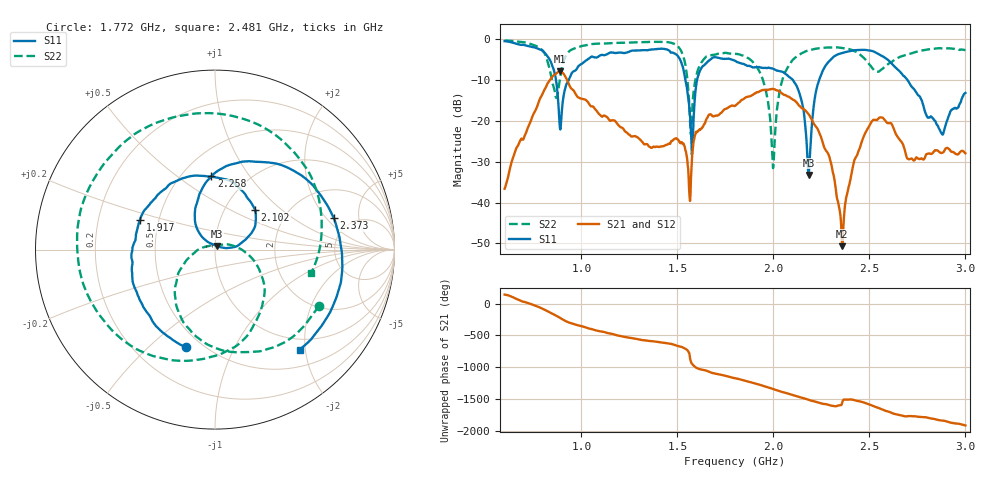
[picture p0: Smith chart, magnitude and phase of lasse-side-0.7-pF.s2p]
#  HZ  S  RI  R  50.00
! Rohde & Schwarz ZVB8 2Ports - Version 2.81 - 1145.1010k08 SN: 100113
! Date: 2016-03-31 04:42:41
! Measurements: S11 S21 S12 S22
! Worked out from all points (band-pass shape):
!   1000 points, 600 MHz to 3 GHz, reference 50 ohm
!   highest |S21| = -7.87 dB at 888.3 MHz (marker M1); lowest = -50.7 dB at 2.359 GHz (marker M2)
!   |S21| within 3 dB of the highest: 824.3 MHz to 932.7 MHz (108.4 MHz wide, 12.3 % of centre)
!   lowest |S11| = -33.2 dB at 2.183 GHz (marker M3), VSWR 1.04, Z = 50.9 + j1.99 ohm
!   |S11| at or under -10 dB: 867.3 MHz to 934.7 MHz (67.35 MHz wide, 7.47 % of centre); 2.1 GHz to 2.239 GHz (138.7 MHz wide, 6.39 % of centre); 2.697 GHz to end of sweep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
!   |S22| runs from -31.6 to -0.4 dB; largest |S21 - S12| = 0.0023
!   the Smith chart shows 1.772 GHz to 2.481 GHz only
!   S11 on the Smith chart (normalised r, x): 1.772 GHz: 0.41, -0.66; 1.917 GHz: 0.39, +0.16; 2.102 GHz: 1.38, +0.68; 2.258 GHz: 0.69, +0.68; 2.373 GHz: 3.68, +2.41; 2.481 GHz: 0.79, -1.89
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6e8  0.0443 0.9311  -0.0115 0.00914  -0.0116 0.00909  -0.0953 0.9473
7.561562e8  0.7771 0.0991  0.1096 -0.0653  0.1094 -0.065  0.8029 0.2085
8.882883e8  0.0462 -0.0663  -0.2865 0.285  -0.2866 0.2845  0.3003 0.1159
1.001201e9  0.313 -0.3796  0.1847 0.0157  0.1842 0.0161  0.4895 -0.6506
1.212613e9  -0.6704 0.0441  -0.0749 -0.0327  -0.0749 -0.0328  -0.8853 -0.1097
1.4e9  0.3059 0.6859  -0.0198 0.0436  -0.0199 0.0435  0.0528 0.914
1.503303e9  0.5974 -0.126  0.0361 0.0458  0.0358 0.0457  0.7781 0.1967
1.575375e9  0.0365 -0.0115  -0.0237 0.0217  -0.0237 0.0216  -0.0863 0.0759
1.772372e9  -0.1629 -0.544  0.0416 -0.1426  0.0417 -0.1424  0.5795 -0.314
1.801201e9  -0.3294 -0.4254  -0.0125 -0.1512  -0.0126 -0.1512  0.4824 -0.4399
1.916517e9  -0.4171 0.1673  -0.221 0.0288  -0.2207 0.0287  -0.1769 -0.4035
1.998198e9  -0.1302 0.4101  -0.0251 0.2417  -0.0258 0.2415  -0.00366 0.026
2.101502e9  0.2237 0.2206  0.1805 0.000807  0.1802 0.00113  0.1103 -0.5422
2.183183e9  0.00957 0.0196  0.0349 -0.1147  0.0351 -0.1144  -0.5239 -0.4956
2.2e9  -0.062 0.0604  0.000686 -0.1025  0.000864 -0.1024  -0.6251 -0.3878
2.257658e9  -0.0203 0.4085  -0.0393 -0.0363  -0.0391 -0.0365  -0.7684 0.0744
2.358559e9  0.6131 0.2665  -0.00142 -0.00256  -0.00138 -0.00254  -0.2191 0.7402
2.372973e9  0.6623 0.174  0.00345 -0.00863  0.00353 -0.0086  -0.0791 0.7598
2.481081e9  0.4708 -0.5578  -0.0435 -0.0579  -0.0432 -0.0579  0.5356 -0.1298
2.601201e9  -0.352 -0.4098  -0.0139 0.092  -0.0144 0.0917  -0.4347 0.243
2.875075e9  0.0206 -0.068  0.0312 -0.0254  0.0311 -0.0253  0.7542 0.11
3e9  -0.1938 0.0997  -0.0183 -0.0355  -0.0183 -0.0355  0.6145 -0.3819
